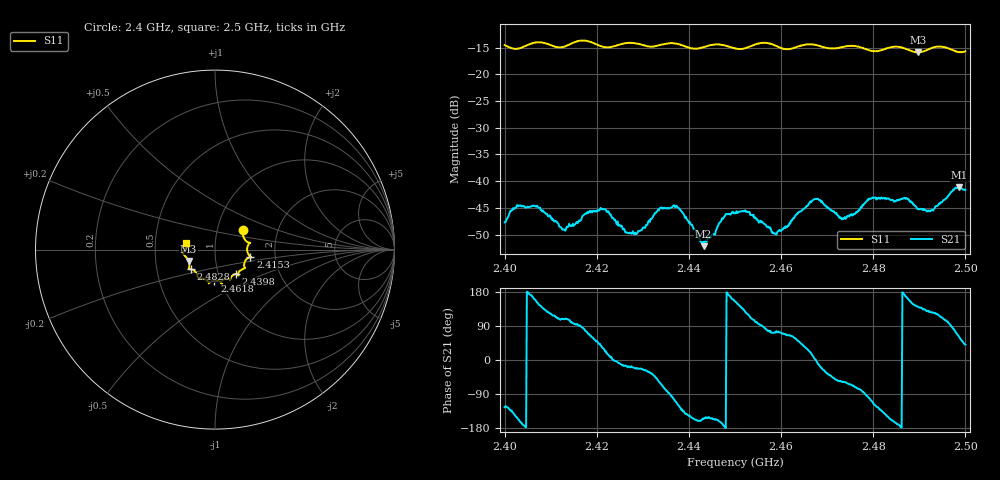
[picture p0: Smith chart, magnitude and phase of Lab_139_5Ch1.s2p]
# Hz S RI R 50
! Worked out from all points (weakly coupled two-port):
!   601 points, 2.4 GHz to 2.5 GHz, reference 50 ohm
!   highest |S21| = -41.13 dB at 2.4987 GHz (marker M1); lowest = -52.2 dB at 2.4432 GHz (marker M2)
!   lowest |S11| = -15.9 dB at 2.4897 GHz (marker M3), VSWR 1.38, Z = 36.9 - j4.82 ohm
!   |S11| at or under -10 dB: start of sweep to end of sweep
!   S12 and S22 are empty: the file has one direction only
!   S11 on the Smith chart (normalised r, x): 2.4 GHz: 1.33, +0.29; 2.4153 GHz: 1.48, -0.12; 2.4398 GHz: 1.21, -0.34; 2.4618 GHz: 0.94, -0.33; 2.4828 GHz: 0.74, -0.17; 2.5 GHz: 0.72, +0.06
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2.4e9  0.1549 0.1065  -0.00232 -0.0034  0 0  0 0
2.4065e9  0.1945 0.0378  -0.0055 0.00202  0 0  0 0
2.412667e9  0.18 -0.01  -0.00107 0.00334  0 0  0 0
2.415333e9  0.1971 -0.0396  -0.000318 0.00393  0 0  0 0
2.416667e9  0.2026 -0.0439  0.000209 0.00439  0 0  0 0
2.421333e9  0.1718 -0.0572  0.00468 0.00283  0 0  0 0
2.4285e9  0.1643 -0.1045  0.00294 -0.00123  0 0  0 0
2.433333e9  0.1299 -0.1333  0.00316 -0.00441  0 0  0 0
2.437167e9  0.1316 -0.1428  -0.00202 -0.00553  0 0  0 0
2.439833e9  0.1156 -0.1359  -0.00352 -0.00239  0 0  0 0
2.443167e9  0.0882 -0.1565  -0.00225 -0.00101  0 0  0 0
2.45e9  0.0651 -0.1626  -0.00452 0.00214  0 0  0 0
2.4585e9  0.034 -0.1848  0.000994 0.0031  0 0  0 0
2.461833e9  -0.00357 -0.1725  0.00165 0.00368  0 0  0 0
2.466667e9  -0.0348 -0.1877  0.00628 0.00163  0 0  0 0
2.4735e9  -0.0849 -0.1599  0.0024 -0.00372  0 0  0 0
2.482833e9  -0.1362 -0.1089  -0.0056 -0.00388  0 0  0 0
2.483333e9  -0.1401 -0.1086  -0.00606 -0.00328  0 0  0 0
2.489667e9  -0.1472 -0.0636  -0.00425 0.00343  0 0  0 0
2.492667e9  -0.174 -0.029  -0.00313 0.00439  0 0  0 0
2.498667e9  -0.1605 0.0154  0.00439 0.0076  0 0  0 0
2.5e9  -0.1595 0.039  0.0063 0.00535  0 0  0 0
